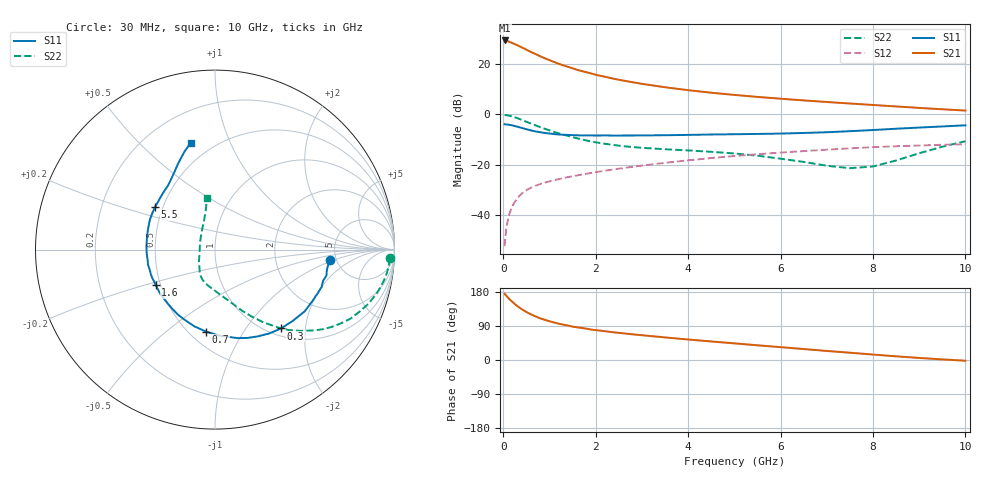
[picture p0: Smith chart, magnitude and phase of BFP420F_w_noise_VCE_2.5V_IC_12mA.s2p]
! Infineon Technologies  Discrete & RF Semiconductors
! BFP420F
! VCE =  2.5 V,  IC =  12 mA
! Common Emitter S-Parameters:  Sep 2011
# GHz  S  MA  R  50
!  f  S11  S21  S12  S22
! GHz  MAG  ANG  MAG  ANG  MAG  ANG  MAG  ANG
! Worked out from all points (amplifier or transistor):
!   54 points, 30 MHz to 10 GHz, reference 50 ohm
!   highest |S21| = 29.4 dB at 30 MHz (marker M1)
!   |S21| within 3 dB of that: start of sweep to 428.5 MHz
!   unconditionally stable (mu >= 1): 1.948 GHz to end of sweep
!   at 120 MHz: K = 0.17, MSG = 34.8 dB, |S12| = -40.5 dB
!   at 1.3 GHz: K = 0.80, MSG = 22.4 dB, |S12| = -25.3 dB
!   at 10 GHz: K = 1.27, MAG = 3.6 dB, |S12| = -11.8 dB
!   lowest NFmin = 1.26 dB at 450 MHz
!   S11 on the Smith chart (normalised r, x): 30 MHz: 4.40, -0.85; 300 MHz: 1.13, -1.48; 700 MHz: 0.60, -0.70; 1.6 GHz: 0.47, -0.22; 5.5 GHz: 0.45, +0.26; 10 GHz: 0.38, +0.72
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0.03  0.6409 -5.1  29.61 174.8  0.0024 89.4  0.9741 -2.9
0.05  0.6351 -8.4  29.23 171.6  0.0038 84.4  0.9725 -5.0
0.1  0.6273 -17.7  28.68 165.0  0.0078 82.6  0.9577 -10.1
0.15  0.6163 -26.4  27.41 158.7  0.0116 79.1  0.9354 -14.8
0.25  0.5879 -42.5  25.02 147.7  0.0182 73.6  0.8766 -23.2
0.3  0.5726 -50.1  23.98 142.9  0.0214 70.7  0.8465 -27.1
0.4  0.5389 -63.8  21.57 134.1  0.0267 66.5  0.78 -33.5
0.5  0.5089 -75.7  19.43 126.8  0.0311 63.0  0.7164 -38.9
0.6  0.4808 -86.7  17.49 120.4  0.0348 60.6  0.6567 -43.6
0.7  0.4596 -96.3  15.88 114.9  0.0382 58.8  0.6066 -47.6
0.8  0.4427 -105.0  14.39 109.9  0.0412 57.6  0.5595 -50.9
0.9  0.4275 -112.5  13.09 106.0  0.044 56.7  0.5181 -53.8
1.1  0.407 -125.6  11.08 98.9  0.0492 55.5  0.4495 -59.1
1.3  0.3945 -136.3  9.482 93.3  0.0541 55.0  0.3972 -63.6
1.6  0.3851 -149.3  7.712 86.2  0.0613 54.6  0.3356 -69.8
1.7  0.3828 -152.7  7.286 84.5  0.0638 54.6  0.3185 -71.7
2.4  0.3796 -171.6  5.1 72.9  0.081 53.8  0.2463 -85.1
3.5  0.3862 168.7  3.475 59.6  0.1091 51.3  0.2032 -101.5
5.5  0.4096 144.6  2.233 38.8  0.1618 42.0  0.1512 -124.1
7  0.4426 126.3  1.768 23.9  0.1991 33.4  0.0955 -156.2
8.5  0.5198 113.4  1.442 9.7  0.2329 23.4  0.1215 128.4
10  0.6083 102.9  1.195 -1.9  0.2563 14.4  0.293 98.7
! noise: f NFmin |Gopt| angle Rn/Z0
0.45  1.26  0.03  161  0.12
0.9  1.26  0.06  135  0.14
1.9  1.4  0.17  170  0.18
2.4  1.46  0.17  173  0.12
3.5  1.72  0.22  -173  0.16
